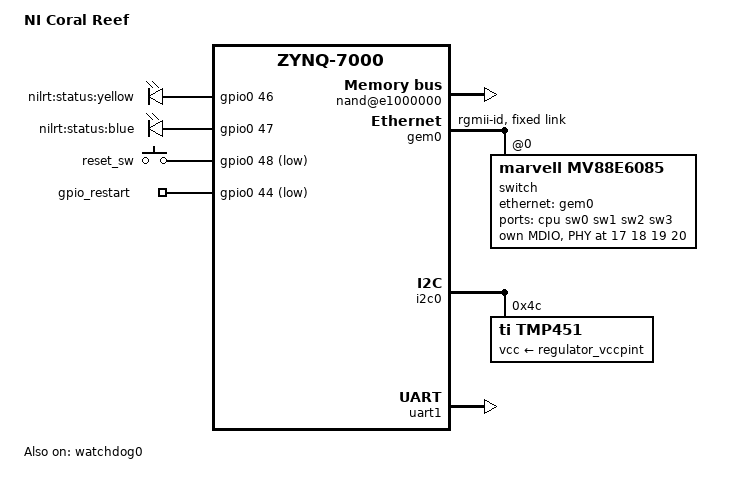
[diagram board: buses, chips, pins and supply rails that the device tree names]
// SPDX-License-Identifier: GPL-2.0
/*
 * Copyright (C) 2016 - 2018 National Instruments
 */

/dts-v1/;
#include <dt-bindings/input/input.h>
#include <dt-bindings/gpio/gpio.h>
/include/ "zynq-7000.dtsi"

/ {
	model = "NI Coral Reef";
	compatible = "ni,zynq-coralreef", "xlnx,zynq-7000";

	/* Populated by the bootloader */
	memory@0 {
		device_type = "memory";
		reg = <0 0>;
	};
	chosen { };

	amba@0 {
		smcc@e000e000 {
			#address-cells = <1>;
			#size-cells = <1>;
			arm,addr25 = <0x0>;
			arm,nor-chip-sel0 = <0x0>;
			arm,nor-chip-sel1 = <0x0>;
			arm,sram-chip-sel0 = <0x0>;
			arm,sram-chip-sel1 = <0x0>;
			clock-names = "memclk", "aclk";
			clocks = <&clkc 11>, <&clkc 44>;
			compatible = "arm,pl353-smc-r2p1";
			interrupts = <0 18 4>;
			ranges ;
			reg = <0xe000e000 0x1000>;
			nand@e1000000 {
				compatible = "arm,pl353-nand-r2p1";
				reg = <0xe1000000 0x1000000>;
				bank-width = <1>; /* 8-bit width */
				xlnx,nand-width = <0x8>;

				/* SLCR SMC_CLK_CTRL value, 83MHz clock, 12ns cycle time */
				/* <t_rr t_ar t_clr t_wp t_rea t_wc t_rc> in cycles */
				xlnx,onfi-mode0 = <0x0001021 4 3 2 7 4 10 10>;

				/* SLCR SMC_CLK_CTRL value, 166MHz clock, 6ns cycle time */
				/* <t_rr t_ar t_clr t_wp t_rea t_wc t_rc> in cycles */
				xlnx,onfi-mode1 = <0x0000821 4 2 2 7 4 10 10>;
				xlnx,onfi-mode2 = <0x0000821 4 2 2 5 3 8 7>;
				xlnx,onfi-mode3 = <0x0000821 4 2 2 5 2 7 6>;
				xlnx,onfi-mode4 = <0x0000821 4 2 2 4 2 6 5>;
				xlnx,onfi-mode5 = <0x0000821 4 2 2 3 2 5 4>;

				#address-cells = <1>;
				#size-cells = <1>;
			};
		};
	};

	leds {
		compatible = "gpio-leds";

		/* LED_STATUSy on GPIO46 */
		status {
			label = "nilrt:status:yellow";
			gpios = <&gpio0 46 GPIO_ACTIVE_HIGH>;
			default-state = "on";
		};

		/* LED_POWERb on GPIO47 */
		active {
			label = "nilrt:status:blue";
			gpios = <&gpio0 47 GPIO_ACTIVE_HIGH>;
			default-state = "off";
		};
	};

	gpio_keys {
		compatible = "gpio-keys";
		#address-cells = <1>;
		#size-cells = <0>;

		/* Reset switch is on GPIO48 */
		reset_sw {
			label = "reset_sw";
			gpios = <&gpio0 48 GPIO_ACTIVE_LOW>;
			linux,code = <KEY_RESTART>;
			gpio-key,wakeup;
		};
	};

	gpio_restart {
		compatible = "gpio-restart";

		/* ~PS_FORCE_RESET is on GPIO44 */
		gpios = <&gpio0 44 GPIO_ACTIVE_LOW>;
		priority = <200>;
	};
};

&L2 {
	prefetch-data = <1>;
	prefetch-instr = <1>;
	arm,dynamic-clock-gating = <0>;
	arm,standby-mode = <0>;
};

&gem0 {
	#address-cells = <1>;
	#size-cells = <0>;
	phy-mode = "rgmii-id";

	fixed-link {
		speed = <1000>;
		full-duplex;
	};

	/*
	 * All NI Expansion I/O devices have a two-port Ethernet switch
	 * connected to the CPU's Ethernet controller.
	 */
	switch@0 {
		compatible = "marvell,mv88e6085";
		#address-cells = <1>;
		#size-cells = <0>;
		reg = <0>;

		dsa,member = <0 0>;

		ports {
			#address-cells = <1>;
			#size-cells = <0>;

			port@0 {
				reg = <0>;
				label = "cpu";
				ethernet = <&gem0>;

				fixed-link {
					speed = <1000>;
					full-duplex;
				};
			};

			port@1 {
				reg = <1>;
				label = "sw0";
				phy-handle = <&switch0phy0>;
			};

			port@2 {
				reg = <2>;
				label = "sw1";
				phy-handle = <&switch0phy1>;
			};

			port@3 {
				reg = <2>;
				label = "sw2";
				phy-handle = <&switch0phy2>;
			};

			port@4 {
				reg = <2>;
				label = "sw3";
				phy-handle = <&switch0phy3>;
			};
		};

		mdio {
			#address-cells = <1>;
			#size-cells = <0>;

			switch0phy0: switch0phy0@11 {
				reg = <0x11>;
			};
			switch0phy1: switch0phy1@12 {
				reg = <0x12>;
			};
			switch0phy2: switch0phy2@13 {
				reg = <0x13>;
			};
			switch0phy3: switch0phy3@14 {
				reg = <0x14>;
			};
		};
	};
};

&i2c0 {
	status = "okay";

	tmp451@4C {
		compatible = "ti,tmp451";
		reg = <0x4C>;
		vcc-supply = <&regulator_vccpint>;
	};
};

&uart1 {
	status = "okay";
};

&watchdog0 {
	status = "okay";
	reset-on-timeout;
};
